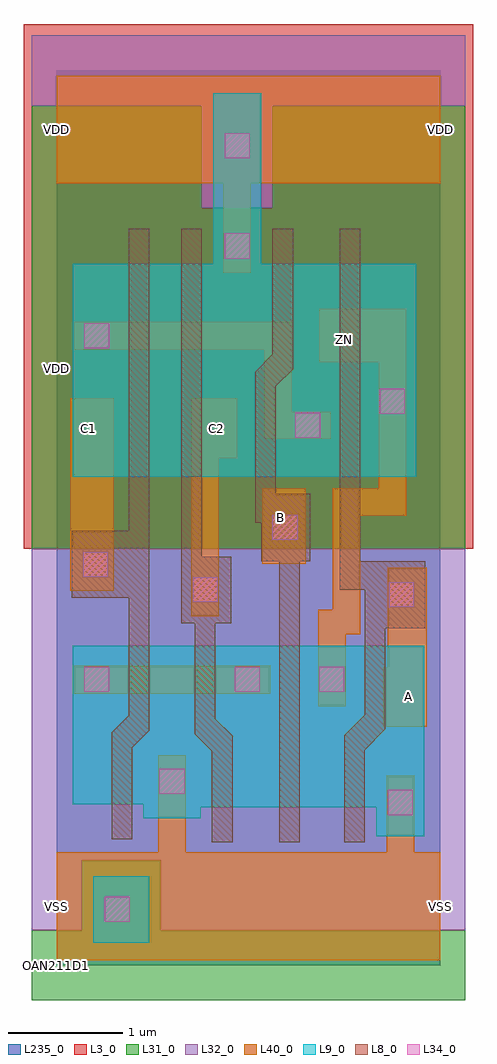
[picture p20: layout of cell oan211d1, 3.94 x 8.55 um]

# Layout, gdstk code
import gdstk
lib = gdstk.Library(unit=1e-6, precision=1e-09)
def R(c, l, rs):  # rectangles x0, y0, x1, y1
    for r in rs: c.add(gdstk.rectangle(r[:2], r[2:], *l))
def P(c, l, *ps):  # polygons
    for p in ps: c.add(gdstk.Polygon(p, *l))
L3_0 = (3, 0)
L8_0 = (8, 0)
L9_0 = (9, 0)
L31_0 = (31, 0)
L32_0 = (32, 0)
L34_0 = (34, 0)
L40_0 = (40, 0)
L235_0 = (235, 0)

oan211d1 = lib.new_cell('oan211d1')
R(oan211d1, L3_0, [(-0.29,3.65,3.65,8.245)])
P(oan211d1, L8_0, [(2.7,1.885),(2.88,2.065),(2.88,2.95),(3.23,2.95),(3.23,3.54),(2.66,3.54),(2.66,6.45),(2.48,6.45),(2.48,3.29),(2.7,3.29),(2.7,2.195),(2.52,2.015),(2.52,1.075),(2.7,1.075)],
  [(2.13,3.54),(2.22,3.54),(2.22,4.13),(1.92,4.13),(1.92,5.07),(2.07,5.22),(2.07,6.45),(1.89,6.45),(1.89,5.35),(1.74,5.2),(1.74,3.875),(1.79,3.875),(1.79,3.54),(1.95,3.54),(1.95,1.075),(2.13,1.075)],
  [(1.54,2.01),(1.39,2.16),(1.39,2.995),(1.53,2.995),(1.53,3.58),(1.27,3.58),(1.27,6.45),(1.09,6.45),(1.09,2.995),(1.21,2.995),(1.21,2.025),(1.36,1.875),(1.36,1.075),(1.54,1.075)],
  [(0.66,1.905),(0.81,2.055),(0.81,6.45),(0.63,6.45),(0.63,3.805),(0.13,3.805),(0.13,3.22),(0.63,3.22),(0.63,2.19),(0.48,2.04),(0.48,1.105),(0.66,1.105)])
R(oan211d1, L9_0, [(0.32,0.195,0.81,0.78)])
P(oan211d1, L9_0, [(3.22,2.8),(3.22,1.13),(2.8,1.13),(2.8,1.385),(1.26,1.385),(1.26,1.285),(0.76,1.285),(0.76,1.41),(0.14,1.41),(0.14,2.8)],
  [(1.79,7.64),(1.79,6.145),(3.15,6.145),(3.15,4.28),(0.14,4.28),(0.14,6.145),(1.37,6.145),(1.37,7.64)])
P(oan211d1, L31_0, [(0.91,0.92),(0.91,0.305),(3.58,0.305),(3.58,-0.305),(-0.22,-0.305),(-0.22,0.305),(0.22,0.305),(0.22,0.92)],
  [(3.58,7.53),(3.58,3.65),(-0.22,3.65),(-0.22,7.53),(1.27,7.53),(1.27,6.635),(1.89,6.635),(1.89,7.53)])
P(oan211d1, L32_0, [(3.58,3.65),(3.58,0.305),(0.91,0.305),(0.91,0.92),(0.22,0.92),(0.22,0.305),(-0.22,0.305),(-0.22,3.65)],
  [(3.58,8.145),(3.58,7.53),(1.89,7.53),(1.89,6.635),(1.27,6.635),(1.27,7.53),(-0.22,7.53),(-0.22,8.145)])
R(oan211d1, L34_0, [(0.42,0.38,0.64,0.6), (2.9,1.315,3.12,1.535), (0.9,1.5,1.12,1.72), (0.24,2.395,0.46,2.615), (1.56,2.395,1.78,2.615), (2.3,2.395,2.52,2.615), (2.91,3.135,3.13,3.355), (1.19,3.18,1.41,3.4), (0.23,3.4,0.45,3.62), (1.89,3.725,2.11,3.945), (2.09,4.62,2.31,4.84), (2.83,4.83,3.05,5.05), (0.24,5.405,0.46,5.625), (1.47,6.19,1.69,6.41), (1.47,7.07,1.69,7.29)])
R(oan211d1, L40_0, [(0.15,2.38,1.87,2.625), (0.12,3.28,0.5,4.965), (1.8,3.515,2.18,4.18)])
P(oan211d1, L40_0, [(0,6.85),(1.46,6.85),(1.46,6.065),(1.7,6.065),(1.7,6.85),(3.36,6.85),(3.36,7.79),(0,7.79)],
  [(3.06,5.75),(2.3,5.75),(2.3,5.28),(2.82,5.28),(2.82,4.18),(2.42,4.18),(2.42,3.115),(2.29,3.115),(2.29,2.27),(2.53,2.27),(2.53,2.9),(2.66,2.9),(2.66,3.935),(3.06,3.935)],
  [(1.18,3.055),(1.42,3.055),(1.42,4.44),(1.58,4.44),(1.58,4.965),(1.18,4.965)],
  [(0.15,5.635),(0.15,5.39),(1.82,5.39),(1.82,4.61),(2.4,4.61),(2.4,4.85),(2.06,4.85),(2.06,5.635)],
  [(3.24,3.48),(2.9,3.48),(2.9,2.61),(2.86,2.61),(2.86,2.09),(3.24,2.09)],
  [(2.89,1.66),(2.89,0.99),(1.13,0.99),(1.13,1.84),(0.89,1.84),(0.89,0.99),(0,0.99),(0,0.045),(3.36,0.045),(3.36,0.99),(3.13,0.99),(3.13,1.66)])
R(oan211d1, L235_0, [(0,0,3.36,7.84)])
oan211d1.add(gdstk.Label('VDD', (0,5.23), layer=40, texttype=7))
oan211d1.add(gdstk.Label('VDD', (0,5.23), layer=40, texttype=7))
oan211d1.add(gdstk.Label('VDD', (0,5.23), layer=40, texttype=7))
oan211d1.add(gdstk.Label('VDD', (0,5.23), layer=40, texttype=7))
oan211d1.add(gdstk.Label('VDD', (0,5.23), layer=40, texttype=7))
oan211d1.add(gdstk.Label('Copyright (c) 2003, 2004 Synopsys, Inc.', (0,-2.24), layer=96, texttype=0))
oan211d1.add(gdstk.Label('DT. 10-Sep-2002 16:46:31', (0,-1.68), layer=96, texttype=0))
oan211d1.add(gdstk.Label('Rev. 1', (0,-1.12), layer=96, texttype=0))
oan211d1.add(gdstk.Label('2/1/1 OR-AND-NOR, 1X DRIVE', (0,-0.56), layer=96, texttype=0))
oan211d1.add(gdstk.Label('OAN211D1', (0,0), layer=96, texttype=0))
oan211d1.add(gdstk.Label('C2', (1.4,4.7), layer=40, texttype=7))
oan211d1.add(gdstk.Label('C1', (0.28,4.7), layer=40, texttype=7))
oan211d1.add(gdstk.Label('ZN', (2.52,5.485), layer=40, texttype=7))
oan211d1.add(gdstk.Label('A', (3.08,2.35), layer=40, texttype=7))
oan211d1.add(gdstk.Label('B', (1.96,3.92), layer=40, texttype=7))
oan211d1.add(gdstk.Label('VSS', (3.36,0.515), layer=40, texttype=7))
oan211d1.add(gdstk.Label('VDD', (3.36,7.32), layer=40, texttype=7))
oan211d1.add(gdstk.Label('VSS', (0,0.515), layer=40, texttype=7))
oan211d1.add(gdstk.Label('VDD', (0,7.32), layer=40, texttype=7))

lib.write_gds('oan211d1.gds')
